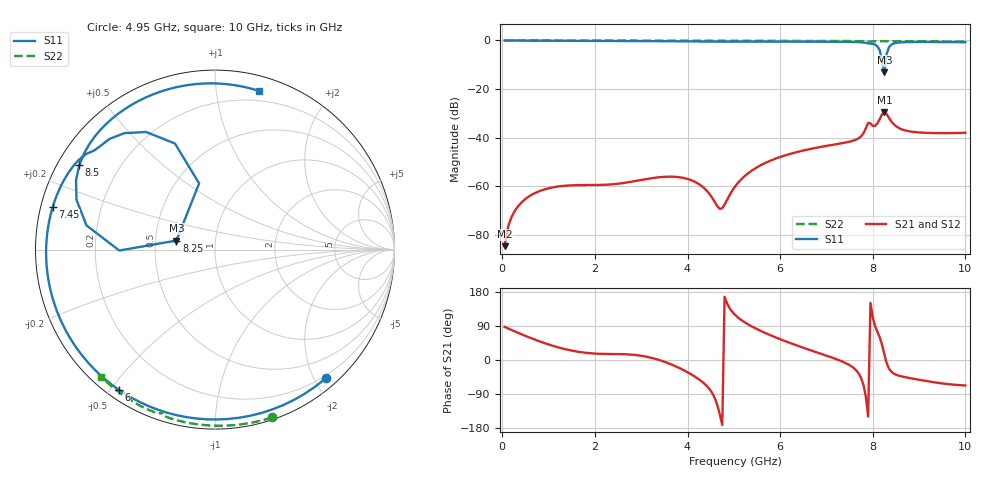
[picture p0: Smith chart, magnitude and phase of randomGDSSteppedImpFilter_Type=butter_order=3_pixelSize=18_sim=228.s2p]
! freq	dB(S11)	phase(S11)	dB(S12)	phase(S12)
!  dB(S21)	phase(S21)	dB(S22)	phase(S22)
!S-par simulation data
#  GHz  S  DB  R 50
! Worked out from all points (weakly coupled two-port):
!   200 points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, 50 MHz to 10 GHz, reference 50 ohm
!   highest |S21| = -29.47 dB at 8.25 GHz (marker M1); lowest = -84.6 dB at 50 MHz (marker M2)
!   lowest |S11| = -13.1 dB at 8.25 GHz (marker M3), VSWR 1.57, Z = 32.2 + j3.41 ohm
!   |S11| at or under -10 dB: 8.217 GHz to 8.27 GHz (53.57 MHz wide, 0.65 % of centre)
!   |S22| runs from -0.5 to 0.0 dB; largest |S21 - S12| = 0
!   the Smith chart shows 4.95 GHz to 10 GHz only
!   S11 on the Smith chart (normalised r, x): 4.95 GHz: 0.16, -2.17; 6 GHz: 0.03, -0.52; 7.45 GHz: 0.03, +0.13; 8.25 GHz: 0.64, +0.07; 8.5 GHz: 0.06, +0.28; 10 GHz: 0.12, +1.31
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0.05  -0.00 -4.7  -84.57 87.4  -84.57 87.4  -0.00 -0.8
0.35  -0.04 -32.5  -67.97 71.2  -67.97 71.2  -0.01 -5.3
0.85  -0.09 -75.7  -61.61 47.2  -61.61 47.2  -0.02 -12.9
1.75  -0.14 -141.8  -59.46 19.7  -59.46 19.7  -0.03 -26.3
2.6  -0.20 161.8  -58.65 15.4  -58.65 15.4  -0.05 -38.8
3.4  -0.29 101.3  -56.22 -0.5  -56.22 -0.5  -0.07 -50.1
3.8  -0.36 64.9  -56.18 -19.8  -56.18 -19.8  -0.08 -55.7
4.25  -0.44 19.5  -59.10 -51.4  -59.10 -51.4  -0.09 -61.9
4.7  -0.48 -25.9  -69.26 -145.4  -69.26 -145.4  -0.10 -67.9
4.95  -0.48 -49.2  -62.21 129.6  -62.21 129.6  -0.11 -71.2
5.05  -0.48 -57.9  -59.47 116.4  -59.47 116.4  -0.11 -72.6
5.5  -0.48 -92.9  -52.15 81.5  -52.15 81.5  -0.13 -78.4
6  -0.47 -124.6  -47.92 54.9  -47.92 54.9  -0.15 -84.8
6.7  -0.49 -160.5  -44.42 24.0  -44.42 24.0  -0.18 -93.5
7.45  -0.59 165.3  -41.81 -10.2  -41.81 -10.2  -0.23 -102.7
8.1  -2.39 120.4  -34.08 74.3  -34.08 74.3  -0.30 -109.7
8.2  -8.42 103.5  -30.39 40.6  -30.39 40.6  -0.30 -111.0
8.25  -13.12 166.8  -29.47 14.9  -29.47 14.9  -0.30 -111.6
8.35  -2.75 169.4  -31.85 -22.7  -31.85 -22.7  -0.30 -112.8
8.5  -1.01 148.1  -35.21 -38.6  -35.21 -38.6  -0.31 -114.6
9.15  -0.62 111.9  -37.98 -55.3  -37.98 -55.3  -0.36 -122.1
10  -0.75 74.5  -37.93 -67.2  -37.93 -67.2  -0.45 -131.8
